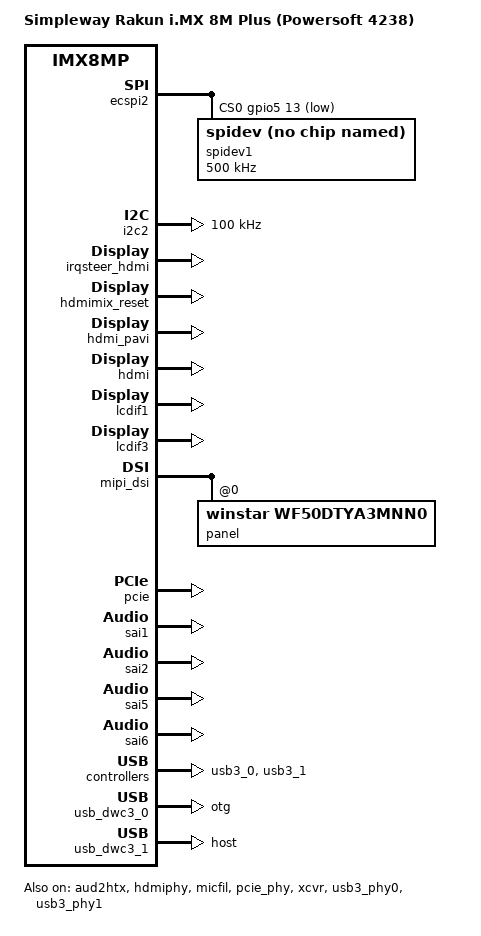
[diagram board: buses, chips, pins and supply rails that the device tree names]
// SPDX-License-Identifier: (GPL-2.0+ OR MIT)
/*
 * Copyright 2020 Borea
 */

/dts-v1/;

#include "rakunx8mplus_simpleway_som.dtsi"

/ {
	model = "Simpleway Rakun i.MX 8M Plus (Powersoft 4238)";
	compatible = "fsl,rakunx8mplus_simpleway_som_past", "fsl,imx8mp";

	sound-hdmi {
		compatible = "fsl,imx-audio-cdnhdmi";
		model = "audio-hdmi";
		audio-cpu = <&aud2htx>;
		hdmi-out;
		constraint-rate = <44100>,
			<88200>,
			<176400>,
			<32000>,
			<48000>,
			<96000>,
			<192000>;
		status = "okay";
	};
};

&aud2htx {
	status = "okay";
};

&ecspi2 {
	#address-cells = <1>;
	#size-cells = <0>;
	fsl,spi-num-chipselects = <1>;
	pinctrl-names = "default";
	pinctrl-0 = <&pinctrl_ecspi2 &pinctrl_ecspi2_cs>;
	cs-gpios = <&gpio5 13 GPIO_ACTIVE_LOW>;
	status = "okay";

	/* TODO: ali lahko dinamično podpiramo flashe */
	spidev1: spi@0 {
		reg = <0>;
		compatible = "rohm,dh2228fv";
		spi-max-frequency = <500000>;
	};
};

&switch0 {
	ports {
		port@0 {
			status = "okay";
		};

		port@2 {
			status = "okay";
		};

		port@4 {
			status = "okay";
		};
	};
};

&i2c2 {
	clock-frequency = <100000>;
	pinctrl-names = "default";
	pinctrl-0 = <&pinctrl_i2c2>;
	status = "okay";
};

&irqsteer_hdmi {
	status = "okay";
};

&hdmimix_clk {
	status = "okay";
};

&hdmimix_reset {
	status = "okay";
};

&hdmi_pavi {
	status = "okay";
};

&hdmi {
	status = "okay";
};

&hdmiphy {
	status = "okay";
};

&lcdif1 {
	status = "okay";
};

&lcdif3 {
	status = "okay";
};

&mipi_dsi {
	status = "okay";

	panel@0 {
		compatible = "winstar,wf50dtya3mnn0", "ilitek,ili9881c";
		reg = <0>;
		status = "okay";
	};
};

&micfil {
	pinctrl-names = "default";
	pinctrl-0 = <&pinctrl_pdm>;
	assigned-clocks = <&clk IMX8MP_CLK_PDM>;
	assigned-clock-parents = <&clk IMX8MP_AUDIO_PLL1_OUT>;
	assigned-clock-rates = <196608000>;
	status = "okay";
};

&pcie{
	status = "okay";
};

&pcie_phy{
	status = "okay";
};

&sai1 {
	#sound-dai-cells = <0>;
	pinctrl-names = "default";
	pinctrl-0 = <&pinctrl_sai1>;
	assigned-clocks = <&clk IMX8MP_CLK_SAI1>;
	assigned-clock-parents = <&clk IMX8MP_AUDIO_PLL1_OUT>;
	assigned-clock-rates = <12288000>;
	status = "okay";
};

&sai2 {
	#sound-dai-cells = <0>;
	pinctrl-names = "default";
	pinctrl-0 = <&pinctrl_sai2>;
	assigned-clocks = <&clk IMX8MP_CLK_SAI2>;
	assigned-clock-parents = <&clk IMX8MP_AUDIO_PLL1_OUT>;
	assigned-clock-rates = <12288000>;
	status = "okay";
};

/*
&sai3 {
	pinctrl-names = "default";
	pinctrl-0 = <&pinctrl_sai3>;
	assigned-clocks = <&clk IMX8MP_CLK_SAI3>;
	assigned-clock-parents = <&clk IMX8MP_AUDIO_PLL1_OUT>;
	assigned-clock-rates = <12288000>;
	clocks = <&audiomix_clk IMX8MP_CLK_AUDIOMIX_SAI3_IPG>, <&clk IMX8MP_CLK_DUMMY>,
		 <&audiomix_clk IMX8MP_CLK_AUDIOMIX_SAI3_MCLK1>, <&clk IMX8MP_CLK_DUMMY>,
		 <&clk IMX8MP_CLK_DUMMY>;
	clock-names = "bus", "mclk0", "mclk1", "mclk2", "mclk3";
	fsl,sai-mclk-direction-output;
	status = "okay";
};
*/

&sai5 {
	#sound-dai-cells = <0>;
	pinctrl-names = "default";
	pinctrl-0 = <&pinctrl_sai5>;
	assigned-clocks = <&clk IMX8MP_CLK_SAI5>;
	assigned-clock-parents = <&clk IMX8MP_AUDIO_PLL1_OUT>;
	assigned-clock-rates = <12288000>;
	status = "okay";
};

&sai6 {
	#sound-dai-cells = <0>;
	pinctrl-names = "default";
	pinctrl-0 = <&pinctrl_sai6>;
	assigned-clocks = <&clk IMX8MP_CLK_SAI6>;
	assigned-clock-parents = <&clk IMX8MP_AUDIO_PLL1_OUT>;
	assigned-clock-rates = <12288000>;
	status = "okay";
};

&xcvr {
	pinctrl-names = "default";
	pinctrl-0 = <&pinctrl_xcvr>;
	#sound-dai-cells = <0>;
	status = "okay";
};

/* TODO: enable. currently uart4 memory is mapped to M7 CPU.
&uart4 {
	pinctrl-names = "default";
	pinctrl-0 = <&pinctrl_uart4>;
	status = "okay";
};
*/

&usb3_phy0 {
	status = "okay";
};

&usb3_0 {
	status = "okay";
};

&usb_dwc3_0 {
	dr_mode = "otg";
	hnp-disable;
	srp-disable;
	adp-disable;
	usb-role-switch;
	status = "okay";
};

&usb3_phy1 {
	status = "okay";
};

&usb3_1 {
	status = "okay";
};

&usb_dwc3_1 {
	dr_mode = "host";
	status = "okay";
};

&iomuxc {
	pinctrl-names = "default";
	pinctrl-0 = <&pinctrl_hog>;

	pinctrl_hog: hoggrp {
		fsl,pins = <
			MX8MP_IOMUXC_HDMI_DDC_SCL__HDMIMIX_HDMI_SCL	0x400001c3
			MX8MP_IOMUXC_HDMI_DDC_SDA__HDMIMIX_HDMI_SDA	0x400001c3
			MX8MP_IOMUXC_HDMI_HPD__HDMIMIX_HDMI_HPD		0x40000019
			MX8MP_IOMUXC_HDMI_CEC__HDMIMIX_HDMI_CEC		0x40000019
		>;
	};

	pinctrl_ecspi2: ecspi2grp {
		fsl,pins = <
			MX8MP_IOMUXC_ECSPI2_SCLK__ECSPI2_SCLK		0x82
			MX8MP_IOMUXC_ECSPI2_MOSI__ECSPI2_MOSI		0x82
			MX8MP_IOMUXC_ECSPI2_MISO__ECSPI2_MISO		0x82
		>;
	};

	pinctrl_ecspi2_cs: ecspi2cs {
		fsl,pins = <
			MX8MP_IOMUXC_ECSPI2_SS0__GPIO5_IO13		0x40000
		>;
	};

	pinctrl_i2c2: i2c2grp {
		fsl,pins = <
			MX8MP_IOMUXC_I2C2_SCL__I2C2_SCL			0x400001c3
			MX8MP_IOMUXC_I2C2_SDA__I2C2_SDA			0x400001c3
		>;
	};

	pinctrl_sai1: sai1grp {
		fsl,pins = <
			MX8MP_IOMUXC_SAI1_TXC__AUDIOMIX_SAI1_TX_BCLK	0xd6
			MX8MP_IOMUXC_SAI1_TXFS__AUDIOMIX_SAI1_TX_SYNC	0xd6
			MX8MP_IOMUXC_SAI1_RXC__AUDIOMIX_SAI1_RX_BCLK	0xd6
			MX8MP_IOMUXC_SAI1_RXFS__AUDIOMIX_SAI1_RX_SYNC	0xd6
			MX8MP_IOMUXC_SAI1_MCLK__AUDIOMIX_SAI1_MCLK		0xd6
			MX8MP_IOMUXC_SAI1_RXD0__AUDIOMIX_SAI1_RX_DATA00	0xd6
			MX8MP_IOMUXC_SAI1_RXD1__AUDIOMIX_SAI1_RX_DATA01	0xd6
			MX8MP_IOMUXC_SAI1_TXD0__AUDIOMIX_SAI1_TX_DATA00	0xd6
			MX8MP_IOMUXC_SAI5_RXC__AUDIOMIX_SAI1_TX_DATA01	0xd6
		>;
	};

	pinctrl_sai2: sai2grp {
		fsl,pins = <
			MX8MP_IOMUXC_SAI2_TXC__AUDIOMIX_SAI2_TX_BCLK	0xd6
			MX8MP_IOMUXC_SAI2_TXFS__AUDIOMIX_SAI2_TX_SYNC	0xd6
			MX8MP_IOMUXC_SAI2_RXC__AUDIOMIX_SAI2_RX_BCLK	0xd6
			MX8MP_IOMUXC_SAI2_RXFS__AUDIOMIX_SAI2_RX_SYNC	0xd6
			MX8MP_IOMUXC_SAI2_MCLK__AUDIOMIX_SAI2_MCLK		0xd6
			MX8MP_IOMUXC_SAI2_TXD0__AUDIOMIX_SAI2_TX_DATA00	0xd6
			MX8MP_IOMUXC_SAI2_RXD0__AUDIOMIX_SAI2_RX_DATA00	0xd6
		>;
	};

	pinctrl_sai5: sai5grp {
		fsl,pins = <
			MX8MP_IOMUXC_SAI5_RXD2__AUDIOMIX_SAI5_TX_BCLK	0xd6
			MX8MP_IOMUXC_SAI5_RXD1__AUDIOMIX_SAI5_TX_SYNC	0xd6
			MX8MP_IOMUXC_SAI3_RXC__AUDIOMIX_SAI5_RX_BCLK	0xd6
			MX8MP_IOMUXC_SAI5_RXFS__AUDIOMIX_SAI5_RX_SYNC	0xd6
			MX8MP_IOMUXC_SAI5_MCLK__AUDIOMIX_SAI5_MCLK		0xd6
			MX8MP_IOMUXC_SAI5_RXD3__AUDIOMIX_SAI5_TX_DATA00	0xd6
			/* MX8MP_IOMUXC_SAI2_TXD0__AUDIOMIX_SAI5_TX_DATA01	0xd6 */
			MX8MP_IOMUXC_SAI5_RXD0__AUDIOMIX_SAI5_RX_DATA00	0xd6
			MX8MP_IOMUXC_SAI3_TXFS__AUDIOMIX_SAI5_RX_DATA01	0xd6
		>;
	};

	pinctrl_sai6: sai6grp {
		fsl,pins = <
			MX8MP_IOMUXC_SAI1_TXD4__AUDIOMIX_SAI6_TX_BCLK	0xd6
			MX8MP_IOMUXC_SAI1_TXD6__AUDIOMIX_SAI6_TX_SYNC	0xd6
			MX8MP_IOMUXC_SAI1_RXD4__AUDIOMIX_SAI6_RX_BCLK	0xd6
			MX8MP_IOMUXC_SAI1_RXD6__AUDIOMIX_SAI6_RX_SYNC	0xd6
			MX8MP_IOMUXC_SAI1_RXD7__AUDIOMIX_SAI6_MCLK		0xd6
			MX8MP_IOMUXC_SAI1_TXD5__AUDIOMIX_SAI6_TX_DATA00	0xd6
			MX8MP_IOMUXC_SAI1_RXD5__AUDIOMIX_SAI6_RX_DATA00	0xd6
		>;
	};

	pinctrl_uart2: uart2grp {
		fsl,pins = <
			MX8MP_IOMUXC_SD1_DATA2__UART2_DTE_RX	0x49
			MX8MP_IOMUXC_SD1_DATA3__UART2_DTE_TX	0x49
		>;
	};

	pinctrl_uart4: uart4grp {
		fsl,pins = <
			MX8MP_IOMUXC_UART4_RXD__UART4_DCE_RX	0x49
			MX8MP_IOMUXC_UART4_TXD__UART4_DCE_TX	0x49
		>;
	};

	pinctrl_xcvr: xcvrgrp {
		fsl,pins = <
			MX8MP_IOMUXC_SPDIF_EXT_CLK__AUDIOMIX_SPDIF1_EXT_CLK     0xd6
			MX8MP_IOMUXC_SPDIF_RX__AUDIOMIX_SPDIF1_IN       0xd6
		>;
	};
};
